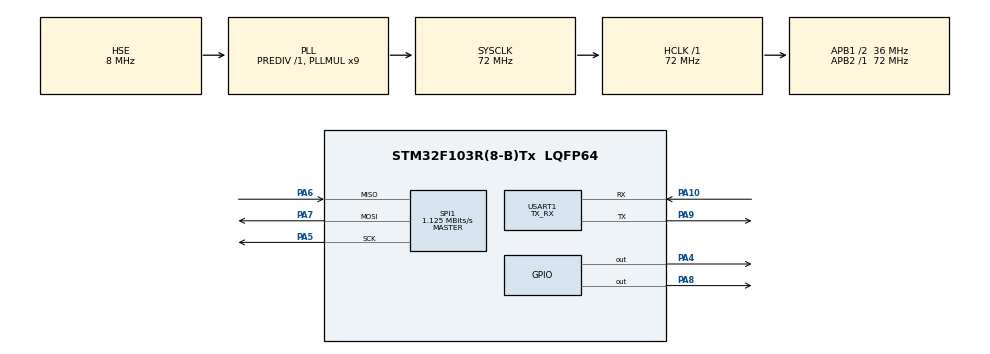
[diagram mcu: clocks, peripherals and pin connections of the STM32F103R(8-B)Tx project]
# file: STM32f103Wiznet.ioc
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Mcu.Family=STM32F1
Mcu.Name=STM32F103R(8-B)Tx
Mcu.Package=LQFP64
NVIC.PriorityGroup=NVIC_PRIORITYGROUP_4
PA10.Mode=Asynchronous
PA10.Signal=USART1_RX
PA13.Mode=Trace_Asynchronous_SW
PA13.Signal=SYS_JTMS-SWDIO
PA14.Mode=Trace_Asynchronous_SW
PA14.Signal=SYS_JTCK-SWCLK
PA4.GPIO_Speed=GPIO_SPEED_FREQ_HIGH
PA4.Signal=GPIO_Output
PA5.Mode=Full_Duplex_Master
PA5.Signal=SPI1_SCK
PA6.Mode=Full_Duplex_Master
PA6.Signal=SPI1_MISO
PA7.Mode=Full_Duplex_Master
PA7.Signal=SPI1_MOSI
PA8.GPIO_ModeDefaultOutputPP=GPIO_MODE_OUTPUT_PP
PA8.Signal=GPIO_Output
PA9.Mode=Asynchronous
PA9.Signal=USART1_TX
PB3.Mode=Trace_Asynchronous_SW
PB3.Signal=SYS_JTDO-TRACESWO
PD0-OSC_IN.Mode=HSE-External-Oscillator
PD0-OSC_IN.Signal=RCC_OSC_IN
PD1-OSC_OUT.Mode=HSE-External-Oscillator
PD1-OSC_OUT.Signal=RCC_OSC_OUT
ProjectManager.HeapSize=0x200
ProjectManager.StackSize=0x400
ProjectManager.TargetToolchain=SW4STM32
RCC.AHBFreq_Value=72000000
RCC.APB1CLKDivider=RCC_HCLK_DIV2
RCC.APB1Freq_Value=36000000
RCC.APB1TimFreq_Value=72000000
RCC.APB2Freq_Value=72000000
RCC.APB2TimFreq_Value=72000000
RCC.HCLKFreq_Value=72000000
RCC.PLLMUL=RCC_PLL_MUL9
RCC.PLLSourceVirtual=RCC_PLLSOURCE_HSE
RCC.SYSCLKFreq_VALUE=72000000
RCC.SYSCLKSource=RCC_SYSCLKSOURCE_PLLCLK
RCC.USBFreq_Value=72000000
SPI1.BaudRatePrescaler=SPI_BAUDRATEPRESCALER_64
SPI1.CLKPhase=SPI_PHASE_2EDGE
SPI1.CLKPolarity=SPI_POLARITY_HIGH
SPI1.CalculateBaudRate=1.125 MBits/s
SPI1.Direction=SPI_DIRECTION_2LINES
SPI1.Mode=SPI_MODE_MASTER
SPI1.VirtualType=VM_MASTER
USART1.Mode=MODE_TX_RX
USART1.VirtualMode=VM_ASYNC
board=custom

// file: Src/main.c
/* USER CODE BEGIN Header */
/**
 ******************************************************************************
 * @file           : main.c
 * @brief          : Main program body
 ******************************************************************************
 * @attention
 *
 * <h2><center>&copy; Copyright (c) 2019 STMicroelectronics.
 * All rights reserved.</center></h2>
 *
 * This software component is licensed by ST under BSD 3-Clause license,
 * the "License"; You may not use this file except in compliance with the
 * License. You may obtain a copy of the License at:
 *                        opensource.org/licenses/BSD-3-Clause
 *
 ******************************************************************************
 */
/* USER CODE END Header */

#include "main.h"

/* USER CODE BEGIN Includes */
#include "stm32f1xx_hal_spi.h"
#include "Ethernet/wizchip_conf.h"
#include "Ethernet/socket.h"
#include "Ethernet/W5100/w5100.h"
/* USER CODE END Includes */

/* USER CODE BEGIN PD */
#define ETH_MAX_BUF_SIZE	2048

unsigned char ethBuf0[ETH_MAX_BUF_SIZE];
unsigned char ethBuf1[ETH_MAX_BUF_SIZE];
unsigned char ethBuf2[ETH_MAX_BUF_SIZE];
unsigned char ethBuf3[ETH_MAX_BUF_SIZE];

#define SSHigh() (GPIOA->ODR|=(1<<4))
#define SSLow() (GPIOA->ODR&=~(1<<4))
#define ResetHigh() (GPIOA->ODR|=(1<<8))
#define ResetLow() (GPIOA->ODR&=~(1<<8))
/* USER CODE END PD */

SPI_HandleTypeDef hspi1;

UART_HandleTypeDef huart1;

/* USER CODE BEGIN PV */
char temp_main[30];

wiz_NetInfo gWIZNETINFO = { .mac = {0x00,0x08,0xdc,0x78,0x91,0x71},
		.ip = {172,18,160,58},
		.sn = {255,255,255,0},
		.gw = {172,18,160,1},
		.dns = {4,4,4,4},
		.dhcp = NETINFO_STATIC};

/* USER CODE END PV */

void SystemClock_Config(void);
static void MX_GPIO_Init(void);
static void MX_SPI1_Init(void);
static void MX_USART1_UART_Init(void);

/* USER CODE BEGIN 0 */
uint8_t spi_rb(void) {
	uint8_t rbuf;
	HAL_SPI_Receive(&hspi1, &rbuf, 1, 0xFFFFFFFF);
	return rbuf;
}

void spi_wb(uint8_t b) {

	HAL_SPI_Transmit(&hspi1, &b, 1, 0xFFFFFFFF);
}

void csEnable(){
	SSLow();
}
void csDisable()
{
	SSHigh();
}

void print_network_information(void)
{
	wizchip_getnetinfo(&gWIZNETINFO);
	printf("Mac address: %02x:%02x:%02x:%02x:%02x:%02x\n\r",gWIZNETINFO.mac[0],gWIZNETINFO.mac[1],gWIZNETINFO.mac[2],gWIZNETINFO.mac[3],gWIZNETINFO.mac[4],gWIZNETINFO.mac[5]);
	printf("IP address : %d.%d.%d.%d\n\r",gWIZNETINFO.ip[0],gWIZNETINFO.ip[1],gWIZNETINFO.ip[2],gWIZNETINFO.ip[3]);
	printf("SM Mask	   : %d.%d.%d.%d\n\r",gWIZNETINFO.sn[0],gWIZNETINFO.sn[1],gWIZNETINFO.sn[2],gWIZNETINFO.sn[3]);
	printf("Gate way   : %d.%d.%d.%d\n\r",gWIZNETINFO.gw[0],gWIZNETINFO.gw[1],gWIZNETINFO.gw[2],gWIZNETINFO.gw[3]);
	printf("DNS Server : %d.%d.%d.%d\n\r",gWIZNETINFO.dns[0],gWIZNETINFO.dns[1],gWIZNETINFO.dns[2],gWIZNETINFO.dns[3]);
}

void W5100SInitialze(void)
{
	intr_kind temp;
	unsigned char W5100S_AdrSet[2][4] = {{2,2,2,2},{2,2,2,2}};
	/*
	 */
	temp = IK_DEST_UNREACH;

	if(ctlwizchip(CW_INIT_WIZCHIP,(void*)W5100S_AdrSet) == -1)
	{
		printf("W5100S initialized fail.\r\n");
	}

	if(ctlwizchip(CW_SET_INTRMASK,&temp) == -1)
	{
		printf("W5100S interrupt\r\n");
	}
	printf("init complete\r\n");

	//	do{//check phy status.
	//		if(ctlwizchip(CW_GET_PHYLINK,(void*)&temp) == -1){
	//			printf("Unknown PHY link status.\r\n");
	//		}
	//	}while(temp == PHY_LINK_OFF);
}

void SPISend(char *txBuffer,char*rxBuffer,uint8_t len)
{
	SSLow();
	HAL_SPI_TransmitReceive(&hspi1,&txBuffer[0],&rxBuffer[0],len,10);
	SSHigh();
}

int _write(int file, char *ptr, int len)
{
	/* Implement your write code here, this is used by puts and printf for example */
	/*
	int i=0;
  for(i=0 ; i<len ; i++)
    ITM_SendChar((*ptr++));
  return len;
	 */

	HAL_UART_Transmit(&huart1, ptr, len,5);
	return  len;

}
void SendTCPMessage()
{
	 uint8_t retVal, sockStatus;

	  /* While socket is in LISTEN mode we wait for a remote connection */
			  //while(sockStatus = getSn_SR(0) == SOCK_LISTEN)
				//  HAL_Delay(100);
			  /* OK. Got a remote peer. Let's send a message to it */
	 while( getSn_SR(0) == SOCK_LISTEN);
	 while(getSn_SR(0) == SOCK_ESTABLISHED) {
			//int32_t recv(uint8_t sn, uint8_t * buf, uint16_t len)
		 recv(0,ethBuf0,sizeof(ethBuf0));
		 printf(ethBuf0);
				  /* If connection is ESTABLISHED with remote peer */
				  //if(sockStatus = getSn_SR(0) == SOCK_ESTABLISHED) {
					  uint8_t remoteIP[4];
					  uint16_t remotePort;
					  /* Retrieving remote peer IP and port number */
					  getsockopt(0, SO_DESTIP, remoteIP);
					  getsockopt(0, SO_DESTPORT, (uint8_t*)&remotePort);
					  printf("connection ok from:%d.%d.%d.%d:%d\r\n" ,remoteIP[0],remoteIP[1],remoteIP[2],remoteIP[3], remotePort);

					  /* Let's send a welcome message and closing socket */
					  if(retVal = send(0, "*****welcome*****\r\n", strlen("*****welcome*****\r\n")) == (int16_t)strlen("*****welcome*****\r\n"))
					  {
						  //printf("welcome sent\r\n");
					  }
					  else { /* Ops: something went wrong during data transfer */

						  printf("something went wrong during data transfer %d\r\n", retVal);
						  break;
					  }
					//
				  }
//				  else { /* Something went wrong with remote peer, maybe the connection was closed unexpectedly */
//					  printf("Something went wrong with remote peer %d\r\n", sockStatus);
//
//					  break;
//				  }
			 // }//end while

}
void TCPLoop()
{
	 uint8_t retVal, sockStatus;
	 int16_t rcvLen;

	 /* Open socket 0 as TCP_SOCKET with port 5000 */
	  if((retVal = socket(0, Sn_MR_TCP, 5000, 0)) == 0) {
		  /* Put socket in LISTEN mode. This means we are creating a TCP server */
		  if((retVal = listen(0)) == SOCK_OK) {
SendTCPMessage();

		  }
		  else /* Ops: socket not in LISTEN mode. Something went wrong */
		 printf("listen\r\n");
	  } else { /* Can't open the socket. This means something is wrong with W5100 configuration: maybe SPI issue? */
		  printf("socket open error: %d\r\n", retVal);

	  }

	  /* We close the socket and start a connection again */
	  disconnect(0);
	  close(0);
}
/* USER CODE END 0 */

int main(void)
{

	/* MCU Configuration--------------------------------------------------------*/

	/* Reset of all peripherals, Initializes the Flash interface and the Systick. */
	HAL_Init();

	/* Configure the system clock */
	SystemClock_Config();

	/* Initialize all configured peripherals */
	MX_GPIO_Init();
	MX_SPI1_Init();
	MX_USART1_UART_Init();
	/* USER CODE BEGIN 2 */
	/* SPI method callback registration */
	//reg_wizchip_spi_cbfunc(spiReadByte, spiWriteByte);
	reg_wizchip_spi_cbfunc(spi_rb, spi_wb);
	/* CS function register */
	reg_wizchip_cs_cbfunc(csEnable,csDisable);
	ResetLow();
	HAL_Delay(3000);
	ResetHigh();
	HAL_Delay(1000);
	printf("start init...\r\n");
	//wizchip_init(bufSize, bufSize);
	W5100SInitialze();
	wizchip_setnetinfo(&gWIZNETINFO);
	print_network_information();
	/* USER CODE END 2 */

	/* Infinite loop */
	/* USER CODE BEGIN WHILE */
	while (1)
	{
		TCPLoop();
		HAL_Delay(1000);

		/* USER CODE END WHILE */

	}
}

void SystemClock_Config(void)
{
	RCC_OscInitTypeDef RCC_OscInitStruct = {0};
	RCC_ClkInitTypeDef RCC_ClkInitStruct = {0};

	/** Initializes the CPU, AHB and APB busses clocks
	 */
	RCC_OscInitStruct.OscillatorType = RCC_OSCILLATORTYPE_HSE;
	RCC_OscInitStruct.HSEState = RCC_HSE_ON;
	RCC_OscInitStruct.HSEPredivValue = RCC_HSE_PREDIV_DIV1;
	RCC_OscInitStruct.HSIState = RCC_HSI_ON;
	RCC_OscInitStruct.PLL.PLLState = RCC_PLL_ON;
	RCC_OscInitStruct.PLL.PLLSource = RCC_PLLSOURCE_HSE;
	RCC_OscInitStruct.PLL.PLLMUL = RCC_PLL_MUL9;
	if (HAL_RCC_OscConfig(&RCC_OscInitStruct) != HAL_OK)
	{
		Error_Handler();
	}
	/** Initializes the CPU, AHB and APB busses clocks
	 */
	RCC_ClkInitStruct.ClockType = RCC_CLOCKTYPE_HCLK|RCC_CLOCKTYPE_SYSCLK
			|RCC_CLOCKTYPE_PCLK1|RCC_CLOCKTYPE_PCLK2;
	RCC_ClkInitStruct.SYSCLKSource = RCC_SYSCLKSOURCE_PLLCLK;
	RCC_ClkInitStruct.AHBCLKDivider = RCC_SYSCLK_DIV1;
	RCC_ClkInitStruct.APB1CLKDivider = RCC_HCLK_DIV2;
	RCC_ClkInitStruct.APB2CLKDivider = RCC_HCLK_DIV1;

	if (HAL_RCC_ClockConfig(&RCC_ClkInitStruct, FLASH_LATENCY_2) != HAL_OK)
	{
		Error_Handler();
	}
}

static void MX_SPI1_Init(void)
{

	/* SPI1 parameter configuration*/
	hspi1.Instance = SPI1;
	hspi1.Init.Mode = SPI_MODE_MASTER;
	hspi1.Init.Direction = SPI_DIRECTION_2LINES;
	hspi1.Init.DataSize = SPI_DATASIZE_8BIT;
	hspi1.Init.CLKPolarity = SPI_POLARITY_LOW;
	hspi1.Init.CLKPhase = SPI_PHASE_1EDGE;
	hspi1.Init.NSS = SPI_NSS_SOFT;
	hspi1.Init.BaudRatePrescaler = SPI_BAUDRATEPRESCALER_256;
	hspi1.Init.FirstBit = SPI_FIRSTBIT_MSB;
	hspi1.Init.TIMode = SPI_TIMODE_DISABLE;
	hspi1.Init.CRCCalculation = SPI_CRCCALCULATION_DISABLE;
	hspi1.Init.CRCPolynomial = 10;
	if (HAL_SPI_Init(&hspi1) != HAL_OK)
	{
		Error_Handler();
	}

}

static void MX_USART1_UART_Init(void)
{

	huart1.Instance = USART1;
	huart1.Init.BaudRate = 115200;
	huart1.Init.WordLength = UART_WORDLENGTH_8B;
	huart1.Init.StopBits = UART_STOPBITS_1;
	huart1.Init.Parity = UART_PARITY_NONE;
	huart1.Init.Mode = UART_MODE_TX_RX;
	huart1.Init.HwFlowCtl = UART_HWCONTROL_NONE;
	huart1.Init.OverSampling = UART_OVERSAMPLING_16;
	if (HAL_UART_Init(&huart1) != HAL_OK)
	{
		Error_Handler();
	}

}

static void MX_GPIO_Init(void)
{
	GPIO_InitTypeDef GPIO_InitStruct = {0};

	/* GPIO Ports Clock Enable */
	__HAL_RCC_GPIOD_CLK_ENABLE();
	__HAL_RCC_GPIOA_CLK_ENABLE();
	__HAL_RCC_GPIOB_CLK_ENABLE();

	/*Configure GPIO pin Output Level */
	HAL_GPIO_WritePin(GPIOA, GPIO_PIN_4|GPIO_PIN_8, GPIO_PIN_RESET);

	/*Configure GPIO pin : PA4 */
	GPIO_InitStruct.Pin = GPIO_PIN_4;
	GPIO_InitStruct.Mode = GPIO_MODE_OUTPUT_PP;
	GPIO_InitStruct.Pull = GPIO_NOPULL;
	GPIO_InitStruct.Speed = GPIO_SPEED_FREQ_HIGH;
	HAL_GPIO_Init(GPIOA, &GPIO_InitStruct);

	/*Configure GPIO pin : PA8 */
	GPIO_InitStruct.Pin = GPIO_PIN_8;
	GPIO_InitStruct.Mode = GPIO_MODE_OUTPUT_PP;
	GPIO_InitStruct.Pull = GPIO_NOPULL;
	GPIO_InitStruct.Speed = GPIO_SPEED_FREQ_LOW;
	HAL_GPIO_Init(GPIOA, &GPIO_InitStruct);

}

void Error_Handler(void)
{
}

/************************ (C) COPYRIGHT STMicroelectronics *****END OF FILE****/
